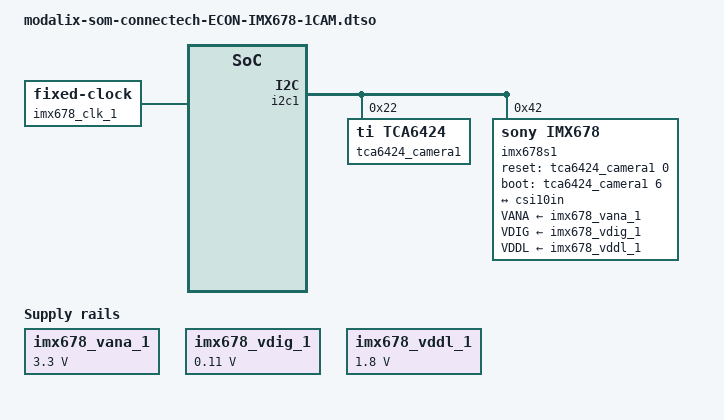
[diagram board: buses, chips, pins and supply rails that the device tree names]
// SPDX-License-Identifier: (GPL-2.0+ OR MIT)
/*
 * Copyright (c) 2026 SiMa ai
 */

/dts-v1/;
/plugin/;

#include "modalix-som-connectech-1CAM.dtsi"

&{/} {
    imx678_vana_1: csi1_fixedregulator@0 {
        compatible = "regulator-fixed";
        regulator-name = "imx678_vana_1";
        regulator-min-microvolt = <3300000>;
        regulator-max-microvolt = <3300000>;
        enable-active-high;
        startup-delay-us = <300000>;
        regulator-always-on;
    };

    imx678_vdig_1: csi1_fixedregulator@1 {
        compatible = "regulator-fixed";
        regulator-name = "imx678_vdig_1";
        regulator-min-microvolt = <110000>;
        regulator-max-microvolt = <110000>;
        regulator-always-on;
    };

    imx678_vddl_1: csi1_fixedregulator@2 {
        compatible = "regulator-fixed";
        regulator-name = "imx678_vddl_1";
        regulator-min-microvolt = <1800000>;
        regulator-max-microvolt = <1800000>;
        regulator-always-on;
    };

    imx678_clk_1: csi1_camera-clk {
        compatible = "fixed-clock";
        #clock-cells = <0>;
        clock-frequency = <24000000>;
    };
};

&csi10in {
    clock-lanes = <0>;
    data-lanes = <1 2>;
    link-frequencies = /bits/ 64 <1040000000>;
    remote-endpoint = <&cam10out>;
    clock-continuous;
};

&i2c1 {
    tca6424_camera1: tca6424@22 {
        compatible = "ti,tca6424";
        gpio-controller;
        #gpio-cells = <2>;
        reg = <0x22>;
        status = "okay";
    };

    imx678s1: imx678@42 {
        compatible = "sony,imx678";
        reg = <0x42>;

        clocks = <&imx678_clk_1>;
        clock-names = "xclk";

        VANA-supply = <&imx678_vana_1>;
        VDIG-supply = <&imx678_vdig_1>;
        VDDL-supply = <&imx678_vddl_1>;

        reset-gpios = <&tca6424_camera1 0 0>;
        boot-gpios = <&tca6424_camera1 6 0>;

        camera_mipi_lanes = <2>;
        cam_fw_name = "imx678_cam_fw.bin";

        port@1 {
            cam10out: endpoint@0 {
                clock-lanes = <0>;
                data-lanes = <1 2>;
                link-frequencies = /bits/ 64 <1040000000>;
                remote-endpoint = <&csi10in>;
                clock-continuous;
            };
        };
    };
};
